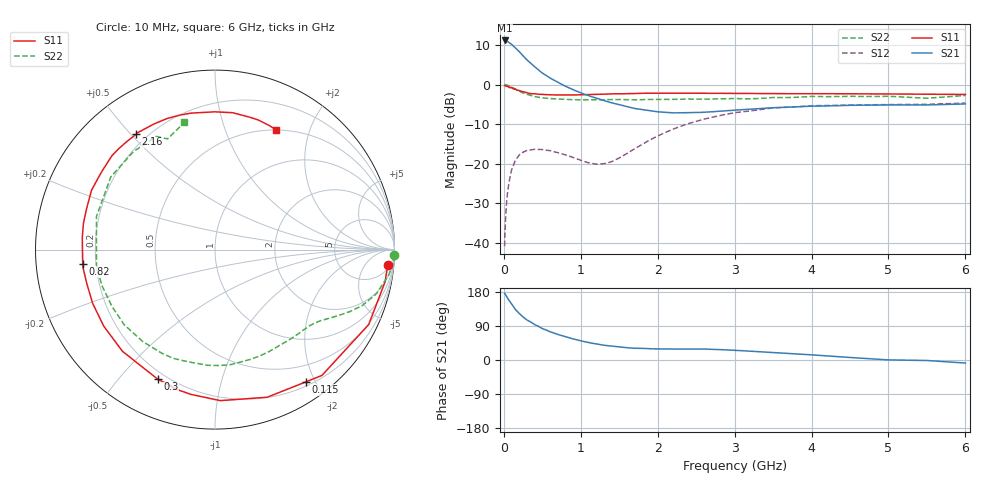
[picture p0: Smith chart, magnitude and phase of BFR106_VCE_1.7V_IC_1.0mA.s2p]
! Infineon Technologies  Discrete & RF Semiconductors
! BFR106
! VCE =  1.7 V,  IC =  1.0 mA
! Common Emitter S-Parameters:  Nov 2015
# GHz  S  MA  R  50
!  f  S11  S21  S12  S22
! GHz  MAG  ANG  MAG  ANG  MAG  ANG  MAG  ANG
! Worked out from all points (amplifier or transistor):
!   210 points, 10 MHz to 6 GHz, reference 50 ohm
!   highest |S21| = 11.2 dB at 10 MHz (marker M1)
!   |S21| within 3 dB of that: start of sweep to 208 MHz
!   unconditionally stable (mu >= 1): 853.3 MHz to end of sweep
!   at 185 MHz: K = 0.21, MSG = 13.4 dB, |S12| = -18.2 dB
!   at 1.52 GHz: K = 1.44, MAG = 2.7 dB, |S12| = -18.3 dB
!   at 6 GHz: K = 1.02, MAG = -1.0 dB, |S12| = -4.7 dB
!   S11 on the Smith chart (normalised r, x): 10 MHz: 7, -19; 115 MHz: 0.26, -1.87; 300 MHz: 0.17, -0.64; 820 MHz: 0.15, -0.05; 2.16 GHz: 0.16, +0.52; 6 GHz: 0.50, +1.51
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0.01  0.966 -5.2  3.615 175.9  0.009 88.3  0.9999 -1.8
0.025  0.9579 -13.2  3.586 171.4  0.0224 79.5  0.9952 -4.2
0.045  0.9499 -23.4  3.518 164.2  0.0401 75.0  0.9814 -7.4
0.1  0.92 -49.6  3.249 147.8  0.0825 62.2  0.9335 -15.2
0.115  0.8935 -55.6  3.13 143.8  0.0903 57.8  0.9159 -16.8
0.15  0.8726 -70.5  2.918 133.4  0.11 50.1  0.8779 -20.8
0.2  0.842 -88.0  2.612 122.8  0.128 41.9  0.828 -24.6
0.24  0.8177 -99.4  2.364 115.2  0.1372 35.9  0.7912 -27.2
0.3  0.7891 -113.9  2.055 105.7  0.1464 29.3  0.752 -30.2
0.4  0.7661 -132.3  1.682 93.4  0.1517 21.1  0.705 -34.4
0.5  0.7524 -145.5  1.399 83.0  0.1503 15.6  0.6782 -38.4
0.64  0.7401 -159.9  1.152 71.9  0.1423 11.6  0.6614 -44.4
0.82  0.7412 -174.0  0.933 60.2  0.1271 10.7  0.6474 -52.6
1.02  0.743 173.3  0.772 49.7  0.1083 16.4  0.6424 -62.5
1.4  0.7632 154.4  0.587 36.7  0.1055 47.5  0.6472 -82.7
2.02  0.7768 129.4  0.451 29.3  0.228 65.2  0.6484 -118.0
2.16  0.7787 124.4  0.441 29.1  0.2626 63.4  0.649 -126.0
2.6  0.7777 110.1  0.445 28.9  0.3643 54.1  0.6554 -151.3
3.1  0.7692 98.0  0.481 24.5  0.4514 40.9  0.6612 -177.1
4.1  0.7672 81.5  0.534 12.2  0.541 18.3  0.7043 142.0
5.1  0.7597 70.7  0.553 -0.0  0.5588 2.9  0.702 116.6
6  0.7491 63.2  0.568 -8.0  0.5836 -7.1  0.7288 103.5
